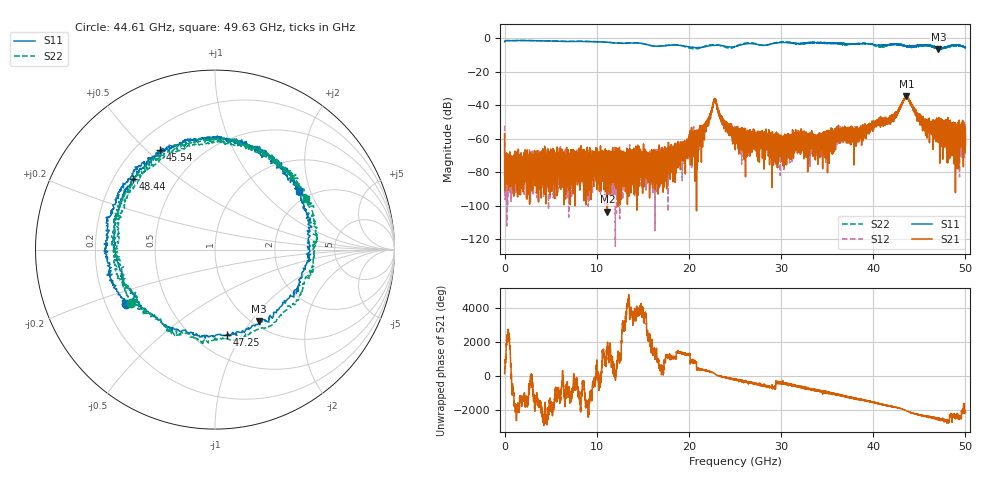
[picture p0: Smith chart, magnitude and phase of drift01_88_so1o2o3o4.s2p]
!Created with skrf (http://scikit-rf.org).
# Hz S RI R 50.0
!freq ReS11 ImS11 ReS21 ImS21 ReS12 ImS12 ReS22 ImS22
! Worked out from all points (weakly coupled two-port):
!   10001 points, 300 kHz to 50 GHz, reference 50 ohm
!   highest |S21| = -34.59 dB at 43.61 GHz (marker M1); lowest = -103.4 dB at 11.15 GHz (marker M2)
!   lowest |S11| = -6.6 dB at 47.08 GHz (marker M3), VSWR 2.76, Z = 53.4 - j54.7 ohm
!   |S11| at or under -10 dB: nowhere
!   |S22| runs from -6.4 to -1.4 dB; largest |S21 - S12| = 0.0045
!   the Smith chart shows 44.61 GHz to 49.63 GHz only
!   S11 on the Smith chart (normalised r, x): 44.61 GHz: 0.29, -0.26; 45.54 GHz: 0.30, +0.55; 47.25 GHz: 0.71, -0.87; 48.44 GHz: 0.28, +0.35; 49.63 GHz: 1.73, +1.68
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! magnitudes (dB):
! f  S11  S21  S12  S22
! 300 kHz  -2.1  -56.9  -52.1  -2.1
! 265.3 MHz  -1.4  -81.2  -81.1  -1.4
! 8.335 GHz  -1.9  -72.7  -70.0  -1.8
! 11.15 GHz  -2.4  -103.4  -71.9  -2.5
! 16.67 GHz  -4.8  -68.0  -78.6  -4.8
! 21.11 GHz  -5.6  -55.2  -60.1  -5.9
! 21.86 GHz  -5.0  -52.6  -53.7  -4.6
! 22.8 GHz  -4.3  -36.3  -36.2  -4.0
! 23.77 GHz  -4.7  -51.8  -50.7  -5.0
! 25 GHz  -5.0  -57.4  -55.4  -5.1
! 29.61 GHz  -2.7  -69.6  -64.9  -2.6
! 33.34 GHz  -2.6  -64.0  -63.2  -2.8
! 37.99 GHz  -3.6  -54.6  -58.7  -3.4
! 41.67 GHz  -3.9  -48.0  -49.1  -4.2
! 43.61 GHz  -4.6  -34.6  -35.1  -4.8
! 44.61 GHz  -4.7  -44.9  -44.0  -5.1
! 45.54 GHz  -4.0  -53.9  -49.9  -4.5
! 47.08 GHz  -6.6  -55.3  -54.1  -5.5
! 47.25 GHz  -6.4  -58.1  -52.0  -5.6
! 48.44 GHz  -4.4  -55.6  -62.9  -4.9
! 49.63 GHz  -4.8  -55.6  -71.2  -4.8
! 50 GHz  -5.5  -57.5  -54.0  -5.3
